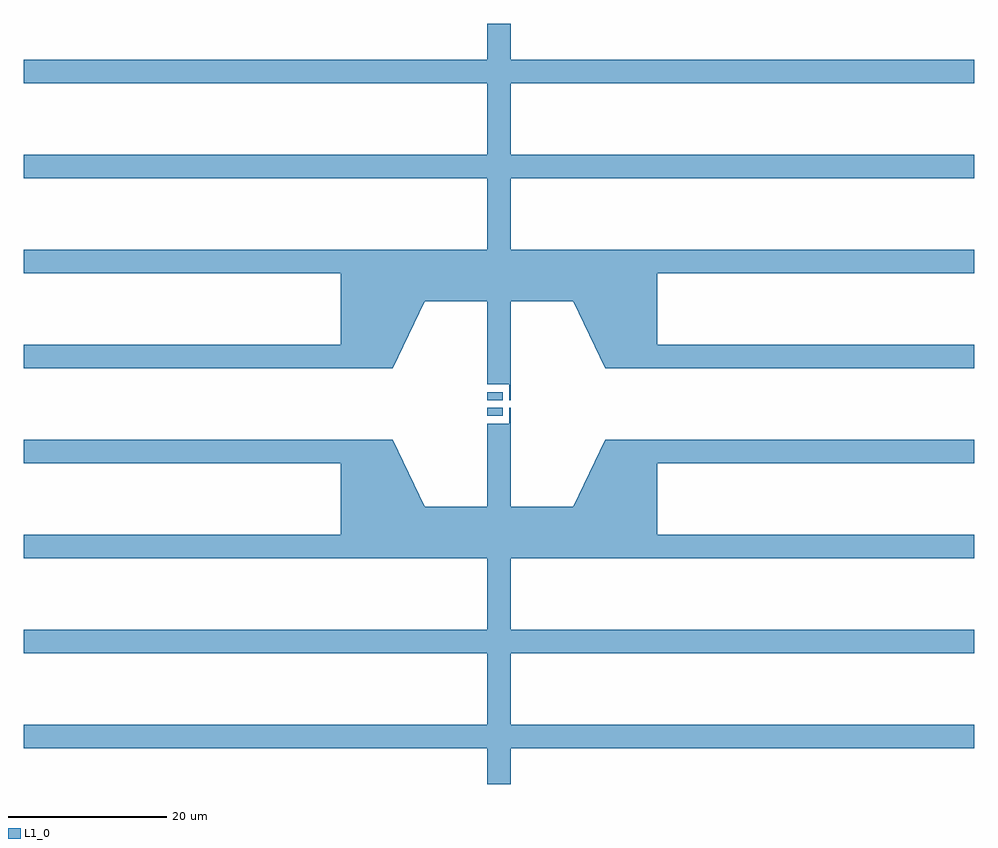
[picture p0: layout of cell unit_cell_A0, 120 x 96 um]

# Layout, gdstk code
from math import pi, radians
import gdstk
lib = gdstk.Library(unit=1e-6, precision=1e-09)
def R(c, l, rs):  # rectangles x0, y0, x1, y1
    for r in rs: c.add(gdstk.rectangle(r[:2], r[2:], *l))
def P(c, l, *ps):  # polygons
    for p in ps: c.add(gdstk.Polygon(p, *l))
L1_0 = (1, 0)

unnamed_965 = lib.new_cell('Unnamed_965')
P(unnamed_965, L1_0, [(58.5,0),(58.5,4.5),(0,4.5),(0,7.5),(58.5,7.5),(58.5,16.5),(0,16.5),(0,19.5),(58.5,19.5),(58.5,28.5),(0,28.5),(0,31.5),(40,31.5),(40,40.5),(0,40.5),(0,43.5),(46.597,43.5),(50.596,35),(58.5,35),(58.5,45.5),(60,45.5),(60,0)])

unnamed_966 = lib.new_cell('Unnamed_966')
unnamed_966.add(gdstk.Reference(unnamed_965, (0,0)))

rectangle_s2_1_lwg_cfal_ = lib.new_cell('rectangle_S2_1_LWG_CFal_a0a9c26d')
R(rectangle_s2_1_lwg_cfal_, L1_0, [(0,0,2,1)])

rectangle_s0p2_2_lwg_cf_ = lib.new_cell('rectangle_S0p2_2_LWG_CF_9ef6d549')
R(rectangle_s0p2_2_lwg_cf_, L1_0, [(0,0,0.2,2)])

unnamed_967 = lib.new_cell('Unnamed_967')
unnamed_967.add(gdstk.Reference(rectangle_s2_1_lwg_cfal_, (0,-1.5)))
unnamed_967.add(gdstk.Reference(rectangle_s0p2_2_lwg_cf_, (2.8,-2.5)))

unit_cell_a0 = lib.new_cell('unit_cell_A0')
unit_cell_a0.add(gdstk.Reference(unnamed_966, (0,0)))
unit_cell_a0.add(gdstk.Reference(unnamed_966, (120,0), rotation=pi, x_reflection=True))
unit_cell_a0.add(gdstk.Reference(unnamed_966, (0,96), x_reflection=True))
unit_cell_a0.add(gdstk.Reference(unnamed_966, (120,96), rotation=pi))
unit_cell_a0.add(gdstk.Reference(unnamed_967, (58.5,48)))
unit_cell_a0.add(gdstk.Reference(unnamed_967, (58.5,48), x_reflection=True))

lib.write_gds('unit_cell_A0.gds')
